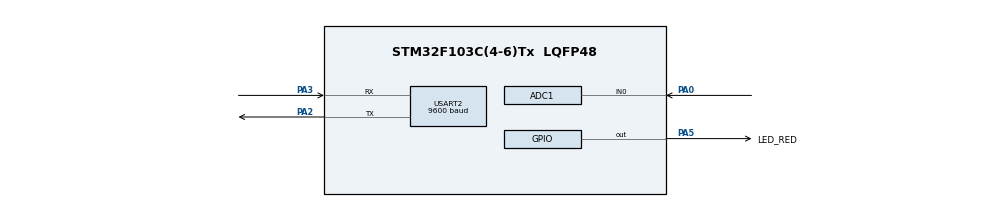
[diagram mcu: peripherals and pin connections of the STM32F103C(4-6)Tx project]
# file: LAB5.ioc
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ADC1.Channel-0\#ChannelRegularConversion=ADC_CHANNEL_0
ADC1.NbrOfConversionFlag=1
ADC1.Rank-0\#ChannelRegularConversion=1
ADC1.SamplingTime-0\#ChannelRegularConversion=ADC_SAMPLETIME_1CYCLE_5
ADC1.master=1
Mcu.Family=STM32F1
Mcu.Name=STM32F103C(4-6)Tx
Mcu.Package=LQFP48
NVIC.PriorityGroup=NVIC_PRIORITYGROUP_4
NVIC.TIM2_IRQn=true\:0\:0\:false\:false\:true\:true\:true\:true
PA0-WKUP.Signal=ADCx_IN0
PA2.Mode=Asynchronous
PA2.Signal=USART2_TX
PA3.GPIO_PuPd=GPIO_NOPULL
PA3.Mode=Asynchronous
PA3.Signal=USART2_RX
PA5.GPIO_Label=LED_RED
PA5.Signal=GPIO_Output
PA6.Signal=S_TIM3_CH1
ProjectManager.HeapSize=0x200
ProjectManager.StackSize=0x400
ProjectManager.TargetToolchain=STM32CubeIDE
RCC.APB1Freq_Value=8000000
RCC.APB2Freq_Value=8000000
SH.ADCx_IN0.0=ADC1_IN0,IN0
SH.S_TIM3_CH1.0=TIM3_CH1
TIM2.Period=9
TIM2.Prescaler=7999
USART2.BaudRate=9600
USART2.VirtualMode=VM_ASYNC
VP_SYS_VS_ND.Mode=No_Debug
VP_TIM2_VS_ClockSourceINT.Mode=Internal
board=custom

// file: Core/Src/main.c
/* USER CODE BEGIN Header */
/**
  ******************************************************************************
  * @file           : main.c
  * @brief          : Main program body
  ******************************************************************************
  * @attention
  *
  * Copyright (c) 2023 STMicroelectronics.
  * All rights reserved.
  *
  * This software is licensed under terms that can be found in the LICENSE file
  * in the root directory of this software component.
  * If no LICENSE file comes with this software, it is provided AS-IS.
  *
  ******************************************************************************
  */
/* USER CODE END Header */
#include "main.h"

/* USER CODE BEGIN Includes */
#include "global.h"
#include "fsm_command_parser.h"
#include "fsm_uart_communiation.h"
#include "software_timer.h"
/* USER CODE END Includes */

ADC_HandleTypeDef hadc1;

TIM_HandleTypeDef htim2;

UART_HandleTypeDef huart2;

void SystemClock_Config(void);
static void MX_GPIO_Init(void);
static void MX_ADC1_Init(void);
static void MX_TIM2_Init(void);
static void MX_USART2_UART_Init(void);

/* USER CODE BEGIN 0 */
//uint8_t temp = 0;
void HAL_UART_RxCpltCallback (UART_HandleTypeDef * huart) {
	if( huart -> Instance == USART2 ) {
	// HAL_UART_Transmit (& huart2 , &temp , 1, 50);
		buffer_rx[index_buffer ++] = temp;
		if (index_buffer == 30) index_buffer = 0;
		buffer_flag = 1;
		HAL_UART_Receive_IT(&huart2 , &temp , 1) ;
	}
}
/* USER CODE END 0 */

int main(void)
{

  /* MCU Configuration--------------------------------------------------------*/

  /* Reset of all peripherals, Initializes the Flash interface and the Systick. */
  HAL_Init();

  /* Configure the system clock */
  SystemClock_Config();

  /* Initialize all configured peripherals */
  MX_GPIO_Init();
  MX_ADC1_Init();
  MX_TIM2_Init();
  MX_USART2_UART_Init();
  /* USER CODE BEGIN 2 */
  HAL_TIM_Base_Start_IT(&htim2);
  HAL_ADC_Start(&hadc1);
  HAL_UART_Receive_IT (&huart2, &temp, 1);
  /* USER CODE END 2 */

  /* Infinite loop */
  /* USER CODE BEGIN WHILE */
  setTimer1(100);
  setTimer2(100);
  while (1)
  {
    /* USER CODE END WHILE */

    /* USER CODE BEGIN 3 */
	  if (timer2_flag == 1) {
		  HAL_GPIO_TogglePin(LED_RED_GPIO_Port, LED_RED_Pin);
		  setTimer2(1000);
	  }
	  if( buffer_flag == 1) {
		  fsm_command_parser(hadc1, huart2) ;
		  buffer_flag = 0;
	  }
	  fsm_uart_communiation(hadc1, huart2) ;
  }
  /* USER CODE END 3 */
}

void SystemClock_Config(void)
{
  RCC_OscInitTypeDef RCC_OscInitStruct = {0};
  RCC_ClkInitTypeDef RCC_ClkInitStruct = {0};
  RCC_PeriphCLKInitTypeDef PeriphClkInit = {0};

  /** Initializes the RCC Oscillators according to the specified parameters
  * in the RCC_OscInitTypeDef structure.
  */
  RCC_OscInitStruct.OscillatorType = RCC_OSCILLATORTYPE_HSI;
  RCC_OscInitStruct.HSIState = RCC_HSI_ON;
  RCC_OscInitStruct.HSICalibrationValue = RCC_HSICALIBRATION_DEFAULT;
  RCC_OscInitStruct.PLL.PLLState = RCC_PLL_NONE;
  if (HAL_RCC_OscConfig(&RCC_OscInitStruct) != HAL_OK)
  {
    Error_Handler();
  }

  /** Initializes the CPU, AHB and APB buses clocks
  */
  RCC_ClkInitStruct.ClockType = RCC_CLOCKTYPE_HCLK|RCC_CLOCKTYPE_SYSCLK
                              |RCC_CLOCKTYPE_PCLK1|RCC_CLOCKTYPE_PCLK2;
  RCC_ClkInitStruct.SYSCLKSource = RCC_SYSCLKSOURCE_HSI;
  RCC_ClkInitStruct.AHBCLKDivider = RCC_SYSCLK_DIV1;
  RCC_ClkInitStruct.APB1CLKDivider = RCC_HCLK_DIV1;
  RCC_ClkInitStruct.APB2CLKDivider = RCC_HCLK_DIV1;

  if (HAL_RCC_ClockConfig(&RCC_ClkInitStruct, FLASH_LATENCY_0) != HAL_OK)
  {
    Error_Handler();
  }
  PeriphClkInit.PeriphClockSelection = RCC_PERIPHCLK_ADC;
  PeriphClkInit.AdcClockSelection = RCC_ADCPCLK2_DIV2;
  if (HAL_RCCEx_PeriphCLKConfig(&PeriphClkInit) != HAL_OK)
  {
    Error_Handler();
  }
}

static void MX_ADC1_Init(void)
{

  ADC_ChannelConfTypeDef sConfig = {0};

  /** Common config
  */
  hadc1.Instance = ADC1;
  hadc1.Init.ScanConvMode = ADC_SCAN_DISABLE;
  hadc1.Init.ContinuousConvMode = DISABLE;
  hadc1.Init.DiscontinuousConvMode = DISABLE;
  hadc1.Init.ExternalTrigConv = ADC_SOFTWARE_START;
  hadc1.Init.DataAlign = ADC_DATAALIGN_RIGHT;
  hadc1.Init.NbrOfConversion = 1;
  if (HAL_ADC_Init(&hadc1) != HAL_OK)
  {
    Error_Handler();
  }

  /** Configure Regular Channel
  */
  sConfig.Channel = ADC_CHANNEL_0;
  sConfig.Rank = ADC_REGULAR_RANK_1;
  sConfig.SamplingTime = ADC_SAMPLETIME_1CYCLE_5;
  if (HAL_ADC_ConfigChannel(&hadc1, &sConfig) != HAL_OK)
  {
    Error_Handler();
  }

}

static void MX_TIM2_Init(void)
{

  TIM_ClockConfigTypeDef sClockSourceConfig = {0};
  TIM_MasterConfigTypeDef sMasterConfig = {0};

  htim2.Instance = TIM2;
  htim2.Init.Prescaler = 7999;
  htim2.Init.CounterMode = TIM_COUNTERMODE_UP;
  htim2.Init.Period = 9;
  htim2.Init.ClockDivision = TIM_CLOCKDIVISION_DIV1;
  htim2.Init.AutoReloadPreload = TIM_AUTORELOAD_PRELOAD_DISABLE;
  if (HAL_TIM_Base_Init(&htim2) != HAL_OK)
  {
    Error_Handler();
  }
  sClockSourceConfig.ClockSource = TIM_CLOCKSOURCE_INTERNAL;
  if (HAL_TIM_ConfigClockSource(&htim2, &sClockSourceConfig) != HAL_OK)
  {
    Error_Handler();
  }
  sMasterConfig.MasterOutputTrigger = TIM_TRGO_RESET;
  sMasterConfig.MasterSlaveMode = TIM_MASTERSLAVEMODE_DISABLE;
  if (HAL_TIMEx_MasterConfigSynchronization(&htim2, &sMasterConfig) != HAL_OK)
  {
    Error_Handler();
  }

}

static void MX_USART2_UART_Init(void)
{

  huart2.Instance = USART2;
  huart2.Init.BaudRate = 9600;
  huart2.Init.WordLength = UART_WORDLENGTH_8B;
  huart2.Init.StopBits = UART_STOPBITS_1;
  huart2.Init.Parity = UART_PARITY_NONE;
  huart2.Init.Mode = UART_MODE_TX_RX;
  huart2.Init.HwFlowCtl = UART_HWCONTROL_NONE;
  huart2.Init.OverSampling = UART_OVERSAMPLING_16;
  if (HAL_UART_Init(&huart2) != HAL_OK)
  {
    Error_Handler();
  }

}

static void MX_GPIO_Init(void)
{
  GPIO_InitTypeDef GPIO_InitStruct = {0};

  /* GPIO Ports Clock Enable */
  __HAL_RCC_GPIOA_CLK_ENABLE();

  /*Configure GPIO pin Output Level */
  HAL_GPIO_WritePin(LED_RED_GPIO_Port, LED_RED_Pin, GPIO_PIN_RESET);

  /*Configure GPIO pin : LED_RED_Pin */
  GPIO_InitStruct.Pin = LED_RED_Pin;
  GPIO_InitStruct.Mode = GPIO_MODE_OUTPUT_PP;
  GPIO_InitStruct.Pull = GPIO_NOPULL;
  GPIO_InitStruct.Speed = GPIO_SPEED_FREQ_LOW;
  HAL_GPIO_Init(LED_RED_GPIO_Port, &GPIO_InitStruct);

  /*Configure GPIO pin : PA6 */
  GPIO_InitStruct.Pin = GPIO_PIN_6;
  GPIO_InitStruct.Mode = GPIO_MODE_AF_PP;
  GPIO_InitStruct.Speed = GPIO_SPEED_FREQ_LOW;
  HAL_GPIO_Init(GPIOA, &GPIO_InitStruct);

}

/* USER CODE BEGIN 4 */
void HAL_TIM_PeriodElapsedCallback(TIM_HandleTypeDef *htim) {
	timerRun();
}
/* USER CODE END 4 */

void Error_Handler(void)
{
  __disable_irq();
  while (1)
  {
  }
}
